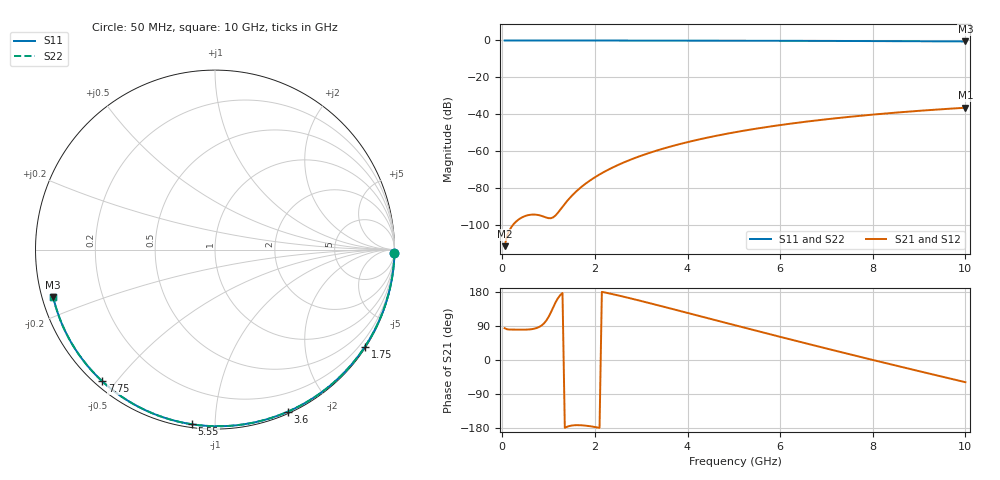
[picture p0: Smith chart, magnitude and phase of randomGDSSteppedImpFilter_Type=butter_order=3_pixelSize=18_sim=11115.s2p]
! freq	dB(S11)	phase(S11)	dB(S12)	phase(S12)
!  dB(S21)	phase(S21)	dB(S22)	phase(S22)
!S-par simulation data
#  GHz  S  DB  R 50
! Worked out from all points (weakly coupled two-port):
!   200 points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, 50 MHz to 10 GHz, reference 50 ohm
!   highest |S21| = -36.46 dB at 10 GHz (marker M1); lowest = -111.5 dB at 50 MHz (marker M2)
!   lowest |S11| = -0.5 dB at 10 GHz (marker M3), VSWR 32.14, Z = 1.59 - j7.22 ohm
!   |S11| at or under -10 dB: nowhere
!   |S22| runs from -0.5 to 0.0 dB; largest |S21 - S12| = 0
!   S11 on the Smith chart (normalised r, x): 50 MHz: open; 1.75 GHz: 0.03, -3.38; 3.6 GHz: 0.02, -1.55; 5.55 GHz: 0.02, -0.88; 7.75 GHz: 0.02, -0.46; 10 GHz: 0.03, -0.14
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0.05  -0.00 -1.0  -111.48 84.0  -111.48 84.0  -0.00 -1.0
0.45  -0.01 -8.6  -95.59 80.0  -95.59 80.0  -0.01 -8.6
0.85  -0.02 -16.2  -95.09 91.3  -95.09 91.3  -0.02 -16.2
1.65  -0.04 -31.1  -80.62 -171.9  -80.62 -171.9  -0.04 -31.1
1.7  -0.04 -32.0  -79.55 -172.2  -79.55 -172.2  -0.04 -32.0
1.75  -0.04 -32.9  -78.54 -172.6  -78.54 -172.6  -0.04 -32.9
1.9  -0.05 -35.7  -75.79 -174.8  -75.79 -174.8  -0.05 -35.7
2.05  -0.05 -38.4  -73.37 -177.9  -73.37 -177.9  -0.05 -38.4
2.25  -0.05 -42.1  -70.53 177.3  -70.53 177.3  -0.05 -42.1
2.45  -0.06 -45.7  -68.05 171.9  -68.05 171.9  -0.06 -45.6
2.9  -0.07 -53.6  -63.35 158.7  -63.35 158.7  -0.07 -53.6
3.4  -0.08 -62.3  -59.17 143.2  -59.17 143.2  -0.08 -62.3
3.6  -0.09 -65.8  -57.71 136.9  -57.71 136.9  -0.09 -65.8
4.3  -0.11 -77.5  -53.35 114.7  -53.35 114.7  -0.11 -77.5
5.05  -0.14 -89.6  -49.62 90.9  -49.62 90.9  -0.14 -89.6
5.55  -0.16 -97.5  -47.53 75.2  -47.53 75.2  -0.16 -97.5
6.1  -0.19 -106.0  -45.51 58.0  -45.51 58.0  -0.19 -106.0
6.7  -0.22 -115.0  -43.58 39.5  -43.58 39.5  -0.22 -115.0
7.75  -0.30 -130.5  -40.77 7.6  -40.77 7.6  -0.30 -130.5
8.35  -0.36 -139.3  -39.42 -10.3  -39.42 -10.3  -0.36 -139.3
9.2  -0.44 -151.7  -37.77 -35.3  -37.77 -35.3  -0.44 -151.7
10  -0.54 -163.5  -36.46 -58.6  -36.46 -58.6  -0.54 -163.5
